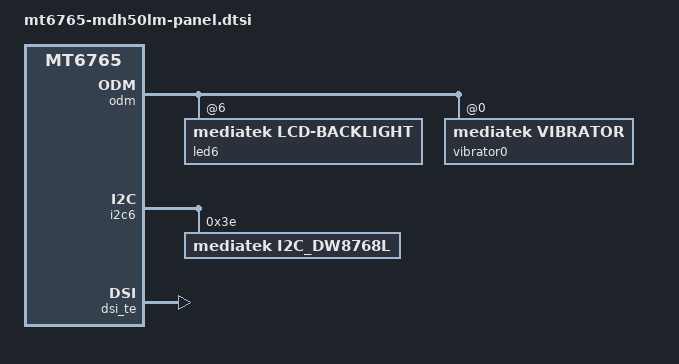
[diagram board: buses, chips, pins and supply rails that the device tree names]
/*
 * LG Electronics MT6765 HDK panel device tree source
 *
 * Copyright (c) 2018 LG Electronics Co., Ltd.
 *              http://www.lge.com
 *
 */

&odm {
	led0:led@0 {
		status = "disabled";
	};
	led1:led@1 {
		status = "disabled";
	};
	led2:led@2 {
		status = "disabled";
	};
	led3:led@3 {
		status = "disabled";
	};
	led4:led@4 {
		status = "disabled";
	};
	led5:led@5 {
		status = "disabled";
	};
	led6:led@6 {
		compatible = "mediatek,lcd-backlight";
		led_mode = <5>;
		data = <1>;
		pwm_config = <0 14 0 0 0>;
		lge.blmap-size = <256>;
		lge.blmap = <
			9 9 9 9 9 9 9 9 9 9 9 10 10 10 10 10
			10 10 10 11 11 11 11 11 11 11 11 11 12 12 12 12
			12 12 12 13 13 13 14 15 15 16 17 17 18 19 19 21
			22 23 24 26 27 28 29 31 32 33 35 35 36 37 39 40
			41 43 44 46 47 48 50 51 53 54 56 58 60 62 64 65
			67 69 71 73 75 77 79 81 83 85 87 90 92 94 96 98
			100 103 105 108 111 114 117 120 123 126 129 132 135 137 140 143
			146 148 151 154 157 159 162 165 168 171 175 179 183 187 191 195
			199 203 207 211 215 220 223 227 231 235 239 243 247 251 255 259
			263 267 271 275 279 283 287 291 295 299 303 307 311 315 320 325
			331 336 341 347 352 358 363 368 374 379 385 390 396 401 407 413
			418 424 429 435 441 446 452 458 465 472 479 486 493 500 507 514
			521 528 535 540 545 551 556 561 567 572 578 583 588 594 599 605
			614 623 632 641 650 660 669 678 687 696 705 715 721 728 734 741
			747 754 760 767 773 780 786 793 800 807 815 823 830 838 846 853
			861 869 876 884 892 900 911 923 935 947 958 970 982 994 1005 1019
		>;
		lge.blmap_2nd = <
			9 9 9 9 9 9 9 9 9 9 9 10 10 10 10 10
			10 10 10 11 11 11 11 11 11 11 11 11 12 12 12 12
			12 12 12 13 13 13 14 15 15 16 17 17 18 19 19 21
			22 23 24 26 27 28 29 31 32 33 35 35 36 37 39 40
			41 43 44 46 47 48 50 51 53 54 56 58 60 62 64 65
			67 69 71 73 75 77 79 81 83 85 87 90 92 94 96 98
			100 103 105 108 111 114 117 120 123 126 129 132 135 137 140 143
			146 148 151 154 157 159 162 165 168 171 175 179 183 187 191 195
			199 203 207 211 215 220 223 227 231 235 239 243 247 251 255 259
			263 267 271 275 279 283 287 291 295 299 303 307 311 315 320 325
			331 336 341 347 352 358 363 368 374 379 385 390 396 401 407 413
			418 424 429 435 441 446 452 458 465 472 479 486 493 500 507 514
			521 528 535 540 545 551 556 561 567 572 578 583 588 594 599 605
			614 623 632 641 650 660 669 678 687 696 705 715 721 728 734 741
			747 754 760 767 773 780 786 793 800 807 815 823 830 838 846 853
			861 869 876 884 892 900 911 923 935 947 958 970 982 994 1005 1019
		>;
		lge.pwm_default_brightness = <678>;
	};
	vibrator0:vibrator@0 {
		compatible = "mediatek,vibrator";
		vib_timer = <25>;
		vib_limit = <9>;
		vib_vol= <11>;
	};
};

&i2c6 {
	i2c_dw8768l@3e {
		compatible = "mediatek,i2c_dw8768l";
		reg = <0x3e>;
		status = "okay";
	};
};

&mtkfb {
	compatible = "mediatek,mtkfb";
	touch-reset-gpio = <&pio 164 0x00>;
	pinctrl-names = "default",
			"lcm_rst_out0_gpio", "lcm_rst_out1_gpio",
			"lcm_ldo_out0_gpio", "lcm_ldo_out1_gpio",
			"lcd_bias_enp0_gpio", "lcd_bias_enp1_gpio",
			"mode_te_te";
	pinctrl-0 = <&disp_pins_default>;
	pinctrl-1 = <&disp_pins_lcm_rst0>;
	pinctrl-2 = <&disp_pins_lcm_rst1>;
	pinctrl-3 = <&disp_pins_lcd_ldo_en0>;
	pinctrl-4 = <&disp_pins_lcd_ldo_en1>;
	pinctrl-5 = <&disp_pins_vpos_en0>;
	pinctrl-6 = <&disp_pins_vpos_en1>;
	pinctrl-7 = <&disp_pins_lcm_dsi_te>;
};

&pio {
	disp_pins_default: disp_pins_default {
	};
	disp_pins_lcm_rst0: lcm_rst_out0_gpio {
		pins_cmd_dat {
			pinmux = <PINMUX_GPIO45__FUNC_GPIO45>;
			slew-rate = <1>;
			output-low;
		};
	};

	disp_pins_lcm_rst1: lcm_rst_out1_gpio {
		pins_cmd_dat {
			pinmux = <PINMUX_GPIO45__FUNC_GPIO45>;
			slew-rate = <1>;
			output-high;
		};
	};

	disp_pins_lcd_ldo_en0: lcm_ldo_out0_gpio {
		pins_cmd_dat {
			pinmux = <PINMUX_GPIO165__FUNC_GPIO165>;
			slew-rate = <1>;
			output-low;
		};
	};

	disp_pins_lcd_ldo_en1: lcm_ldo_out1_gpio {
		pins_cmd_dat {
			pinmux = <PINMUX_GPIO165__FUNC_GPIO165>;
			slew-rate = <1>;
			output-high;
		};
	};

	disp_pins_vpos_en0: lcd_bias_enp0_gpio {
		pins_cmd_dat {
			pinmux = <PINMUX_GPIO28__FUNC_GPIO28>;
			slew-rate = <1>;
			output-low;
		};
	};

	disp_pins_vpos_en1: lcd_bias_enp1_gpio {
		pins_cmd_dat {
			pinmux = <PINMUX_GPIO28__FUNC_GPIO28>;
			slew-rate = <1>;
			output-high;
		};
	};

	disp_pins_lcm_dsi_te: mode_te_te {
		pins_cmd_dat {
			pinmux = <PINMUX_GPIO44__FUNC_DSI_TE>;
			input-enable;
		};
	};
};

&mt6370_pmu {
	bled {
		/* mt,ext_en_pin; */
		mt,chan_en  = <0xf>; /* bit 0 1 2 3 -> chan 1 2 3 4 */
		mt,map_linear;
		mt,bl_ovp_level = <3>;	/* 0: 17v */
					/* 1: 21v */
					/* 2: 25v */
					/* 3: 29v */
		mt,bl_ocp_level = <2>;	/* 0: 900mA */
					/* 1: 1200mA */
					/* 2: 1500mA */
					/* 3: 1800mA */
		mt,use_pwm;
		mt,pwm_fsample = <2>;	/* 0: 1MHz */
					/* 1: 4MHz */
					/* 2: or 3: 24mHz */
		mt,pwm_deglitch = <1>;	/* 0: no filter */
					/* 1: 100ns */
					/* 2: 160ns */
					/* 3: 200ns */
		mt,pwm_avg_cycle = <0>; /* 0: disable avg */
					/* 1: avg 2 cycle */
					/* 2: avg 4 cycle */
					/* 3: avg 8 cycle */
					/* 4: avg 16 cycle */
					/* 5: avg 32 cycle */
		mt,bled_ramptime = <3>; /* 0, 500us, 750us, 1ms, 2ms */
					/* 5ms, 10ms, 20ms, 50ms */
					/* 100ms, 250ms, 800ms */
					/* 1s, 2s, 4s, 8s */
		mt,bled_flash_ramp = <1>;	/* 0, 500us, 750us */
						/* 1ms, 2ms, 5ms */

		/* we have 11 bit resolution, quantize in driver */
		mt,max_bled_brightness = <678>; /* maximum 2047 */
	};
	dsv {
		db_ext_en = <0>;  /* 0 = i2c ctrl; 1 = ext pin */

		/* 1 = prevent from voltage drop when db is restart */
		db_periodic_fix = <0>;

		/* 0 : VOS & VNEG are ctrled by DB_ENP & DB_ENN*/
		/* 1 : single pin ctrl*/
		db_single_pin = <0>;

		/* 0 = 20Hz */
		/* 1 = 33Hz; valid if db_period_mode = 1 */
		db_freq_pm = <0>;

		/* 0 = always on if DB is enabled */
		/* 1 = DB period mode */
		db_periodic_mode = <0>;

		/* 0 = close loop, wait 80% */
		/* 1 = open loop, go after soft-start dimming */
		db_startup = <0>;

		/* 1 = DB VNEG discharge 20ms when shutdown */
		/* 0 = disable */
		db_vneg_20ms = <0>;

		/* 1 = Discharge VNEG when turn off */
		/* 0 = disable */
		db_vneg_disc = <0>;

		/* 1 = DB VPOS discharge 20ms when shutdown */
		/* 0 = disable */
		db_vpos_20ms = <0>;

		/* 1 = Discharge VPOS when turn off */
		/* 0 = disable */
		db_vpos_disc = <0>;

		db_delay = <3>;	/* 0 = no constraint */
				/* 1 = 0 ms */
				/* 2 = 1 ms */
				/* 3 = 4 ms */
		db_vbst  = <5700>;      /* mV */
		db_vpos_slew = <1>;	/* 0: 8.46 V/ms */
					/* 1: 5.79 V/ms */
					/* 2: 3.87 V/ms */
					/* 3: 2.97 V/ms */
		db_vneg_slew = <1>;	/* 0: -9.24V/ms */
					/* 1: -5.97V/ms */
					/* 2: -4.82V/ms */
					/* 3: -3.07V/ms */
		mt6370_dsvp {
			/* change name by yourself */
			regulator-name = "dsv_pos";

			regulator-min-microvolt = <4000000>;

			/* max == min then apply_uV = 1 */
			regulator-max-microvolt = <6000000>;

			/* optional*/
			/* regulator-microvolt-offset = <0>; */

			/* optional, exist = enabled */
			/* regulator-boot-on = "yes"; */

			/* optional, exist = enabled */
			/* regulator-always-on = "yes"; */

			/* optional */
			/* regulator-ramp-delay = <100>; */
		};
		mt6370_dsvn {
			/* change name by yourself */
			regulator-name = "dsv_neg";

			regulator-min-microvolt = <4000000>;

			/* max == min then apply_uV = 1 */
			regulator-max-microvolt = <6000000>;

			/* optional*/
			/* regulator-microvolt-offset = <0> */

			/* optional, exist = enabled */
			/* regulator-boot-on = "yes"; */

			/* optional, exist = enabled */
			/* regulator-always-on = "yes"; */

			/* regulator-ramp-delay = <100>; */
		};
	};
};

&dsi_te {
	compatible = "mediatek, DSI_TE-eint";
	interrupt-parent = <&pio>;
	interrupts = <44 IRQ_TYPE_EDGE_RISING 44 1>;
	status = "okay";
};
